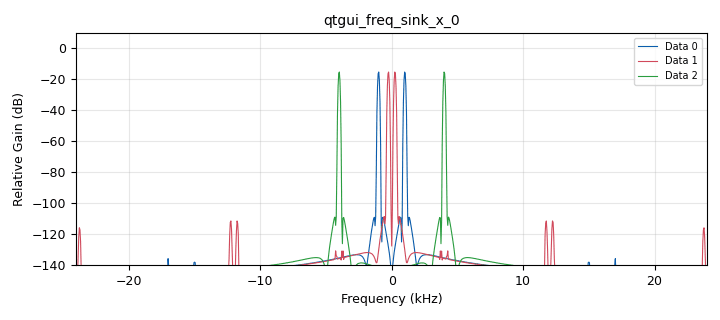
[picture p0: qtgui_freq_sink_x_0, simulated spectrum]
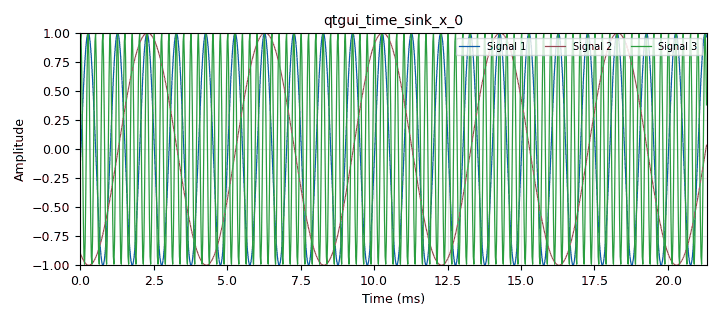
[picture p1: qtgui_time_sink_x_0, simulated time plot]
options:
  parameters:
    author: alan-manuel
    generate_options: qt_gui
    id: ece531_lab1g
    output_language: python
    title: ece532_labg
  states: {}

blocks:
- name: samp_rate
  id: variable
  parameters:
    value: 48*10**3
  states: {}
- name: analog_sig_source_x_0
  id: analog_sig_source_x
  parameters:
    amp: '1'
    freq: '1000'
    offset: '0'
    phase: '0'
    samp_rate: samp_rate
    type: float
    waveform: analog.GR_COS_WAVE
  states: {}
- name: analog_sig_source_x_1
  id: analog_sig_source_x
  parameters:
    amp: '1'
    freq: '1000'
    offset: '0'
    phase: '0'
    samp_rate: samp_rate
    type: float
    waveform: analog.GR_COS_WAVE
  states: {}
- name: analog_sig_source_x_2
  id: analog_sig_source_x
  parameters:
    amp: '1'
    freq: '1000'
    offset: '0'
    phase: '0'
    samp_rate: samp_rate
    type: float
    waveform: analog.GR_COS_WAVE
  states: {}
- name: blocks_throttle2_0
  id: blocks_throttle2
  parameters:
    samples_per_second: samp_rate
    type: float
  states: {}
- name: qtgui_freq_sink_x_0
  id: qtgui_freq_sink_x
  parameters:
    bw: samp_rate
    fc: '0'
    fftsize: '1024'
    nconnections: '3'
    type: float
  states: {}
- name: qtgui_time_sink_x_0
  id: qtgui_time_sink_x
  parameters:
    nconnections: '3'
    size: '1024'
    srate: samp_rate
    tr_mode: qtgui.TRIG_MODE_AUTO
    type: float
  states: {}
- name: rational_resampler_xxx_0
  id: rational_resampler_xxx
  parameters:
    decim: '1'
    interp: '4'
    type: fff
  states: {}
- name: rational_resampler_xxx_1
  id: rational_resampler_xxx
  parameters:
    decim: '4'
    interp: '1'
    type: fff
  states: {}
- name: rational_resampler_xxx_2
  id: rational_resampler_xxx
  parameters:
    decim: '1'
    interp: '1'
    type: fff
  states: {}

connections:
- [analog_sig_source_x_0, '0', rational_resampler_xxx_0, '0']
- [analog_sig_source_x_1, '0', rational_resampler_xxx_1, '0']
- [analog_sig_source_x_2, '0', rational_resampler_xxx_2, '0']
- [blocks_throttle2_0, '0', qtgui_freq_sink_x_0, '0']
- [blocks_throttle2_0, '0', qtgui_time_sink_x_0, '0']
- [rational_resampler_xxx_0, '0', qtgui_freq_sink_x_0, '1']
- [rational_resampler_xxx_0, '0', qtgui_time_sink_x_0, '1']
- [rational_resampler_xxx_1, '0', qtgui_freq_sink_x_0, '2']
- [rational_resampler_xxx_1, '0', qtgui_time_sink_x_0, '2']
- [rational_resampler_xxx_2, '0', blocks_throttle2_0, '0']

metadata:
  file_format: 1
  grc_version: 3.10.9.2
